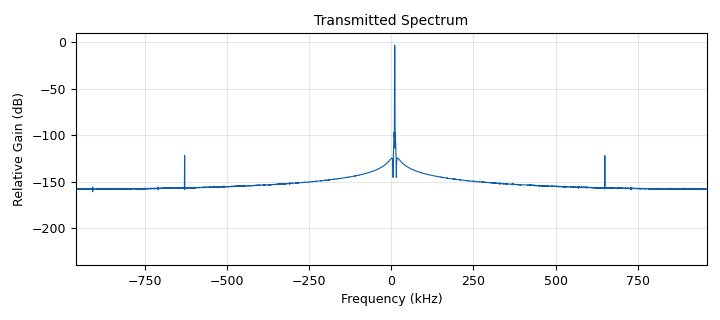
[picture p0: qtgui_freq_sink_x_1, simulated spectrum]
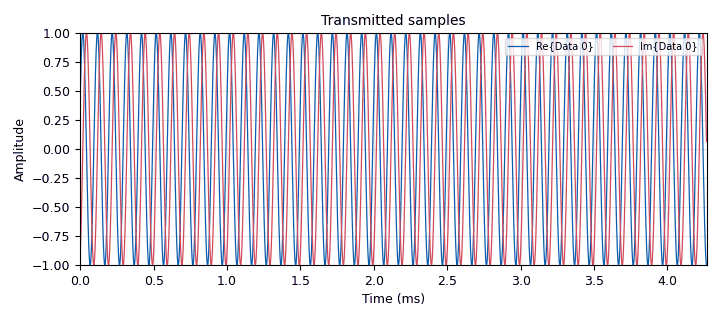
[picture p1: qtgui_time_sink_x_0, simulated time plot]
options:
  parameters:
    generate_options: qt_gui
    id: sinewave_loopback_jupiter
    output_language: python
    title: sinewave_loopback_jupiter
  states: {}

blocks:
- name: buff_size
  id: variable
  parameters:
    value: int(32768)
  states: {}
- name: gain_control_mode_rx0
  id: variable
  parameters:
    value: '''spi'''
  states: {}
- name: hardwaregain_rx0
  id: variable_qtgui_range
  parameters:
    label: Rx Gain [dBfs]
    start: '0'
    step: '1'
    stop: '34'
    value: '20'
  states: {}
- name: hardwaregain_tx0
  id: variable_qtgui_range
  parameters:
    label: Tx Attenuation [dBfs]
    start: '-41'
    step: '1'
    stop: '0'
    value: '0'
  states: {}
- name: interval_update
  id: variable
  parameters:
    value: int(0)
  states: {}
- name: jupiter_ip
  id: variable_config
  parameters:
    config_file: default
    option: key
    section: main
    type: string
    value: ip:pluto.local
    writeback: None
  states: {}
- name: lo_offset
  id: variable
  parameters:
    value: int(0)
  states: {}
- name: phy_config
  id: variable_config
  parameters:
    config_file: default
    option: key
    section: main
    type: string
    value: ad9361-phy
    writeback: None
  states: {}
- name: rx_config
  id: variable_config
  parameters:
    config_file: default
    option: key
    section: main
    type: string
    value: cf-ad9361-lpc
    writeback: None
  states: {}
- name: rx_lo_freq
  id: variable
  parameters:
    value: int(2200000000)
  states: {}
- name: samp_rate
  id: variable
  parameters:
    value: '1920000'
  states: {}
- name: sine_frequency
  id: variable_qtgui_range
  parameters:
    gui_hint: (0,0,1,2)
    label: Transmitted Sine Frequency [Hz]
    start: '-500000'
    step: '1'
    stop: '500000'
    value: '10000'
  states: {}
- name: tx_config
  id: variable_config
  parameters:
    config_file: default
    option: key
    section: main
    type: string
    value: cf-ad9361-dds-core-lpc
    writeback: None
  states: {}
- name: tx_lo_freq
  id: variable
  parameters:
    value: int(2200000000+ lo_offset)
  states: {}
- name: analog_sig_source_x_0
  id: analog_sig_source_x
  parameters:
    amp: '1'
    freq: sine_frequency
    offset: '0'
    phase: '0'
    samp_rate: samp_rate
    type: complex
    waveform: analog.GR_SIN_WAVE
  states: {}
- name: blocks_complex_to_imag_0_4_0
  id: blocks_complex_to_imag
  parameters: {}
  states: {}
- name: blocks_complex_to_real_0_4_0
  id: blocks_complex_to_real
  parameters: {}
  states: {}
- name: blocks_float_to_complex_0
  id: blocks_float_to_complex
  parameters: {}
  states: {}
- name: blocks_float_to_short_0_0_4_0
  id: blocks_float_to_short
  parameters:
    scale: '32767'
  states: {}
- name: blocks_float_to_short_0_5_0
  id: blocks_float_to_short
  parameters:
    scale: '32767'
  states: {}
- name: blocks_short_to_float_0
  id: blocks_short_to_float
  parameters:
    scale: '32767'
  states: {}
- name: blocks_short_to_float_0_1
  id: blocks_short_to_float
  parameters:
    scale: '32767'
  states: {}
- name: iio_attr_sink_0
  id: iio_attr_sink
  parameters:
    attr_type: '0'
    channel: voltage0
    device: phy_config
    output: 'False'
    uri: jupiter_ip
  states: {}
- name: iio_attr_sink_0_0
  id: iio_attr_sink
  parameters:
    attr_type: '0'
    channel: voltage1
    device: phy_config
    output: 'False'
    uri: jupiter_ip
  states: {}
- name: iio_attr_sink_0_0_0
  id: iio_attr_sink
  parameters:
    attr_type: '0'
    channel: voltage1
    device: phy_config
    output: 'True'
    uri: jupiter_ip
  states: {}
- name: iio_attr_sink_0_1
  id: iio_attr_sink
  parameters:
    attr_type: '0'
    channel: voltage0
    device: phy_config
    output: 'True'
    uri: jupiter_ip
  states: {}
- name: iio_attr_sink_0_1_0
  id: iio_attr_sink
  parameters:
    attr_type: '0'
    channel: altvoltage0
    device: phy_config
    output: 'True'
    uri: jupiter_ip
  states: {}
- name: iio_attr_sink_0_1_0_0
  id: iio_attr_sink
  parameters:
    attr_type: '0'
    channel: altvoltage2
    device: phy_config
    output: 'True'
    uri: jupiter_ip
  states: {}
- name: iio_attr_sink_0_1_0_0_0
  id: iio_attr_sink
  parameters:
    attr_type: '1'
    channel: adrv9002-phy
    device: phy_config
    uri: jupiter_ip
  states: {}
- name: iio_attr_sink_0_1_0_1
  id: iio_attr_sink
  parameters:
    attr_type: '0'
    channel: voltage0
    device: phy_config
    output: 'False'
    uri: jupiter_ip
  states: {}
- name: iio_attr_updater_0
  id: iio_attr_updater
  parameters:
    attr: hardwaregain
    interval: interval_update
    value: str(hardwaregain_rx0)
  states: {}
- name: iio_attr_updater_0_0
  id: iio_attr_updater
  parameters:
    attr: hardwaregain
    interval: interval_update
    value: str(0)
  states: {}
- name: iio_attr_updater_0_0_0
  id: iio_attr_updater
  parameters:
    attr: hardwaregain
    interval: interval_update
    value: str(-40)
  states: {}
- name: iio_attr_updater_0_1
  id: iio_attr_updater
  parameters:
    attr: hardwaregain
    interval: interval_update
    value: str(hardwaregain_tx0)
  states: {}
- name: iio_attr_updater_0_1_0
  id: iio_attr_updater
  parameters:
    attr: frequency
    interval: interval_update
    value: str(rx_lo_freq)
  states: {}
- name: iio_attr_updater_0_1_0_0
  id: iio_attr_updater
  parameters:
    attr: frequency
    interval: interval_update
    value: str(tx_lo_freq)
  states: {}
- name: iio_attr_updater_0_1_0_0_0
  id: iio_attr_updater
  parameters:
    attr: initial_calibrations
    interval: interval_update
    value: '''auto'''
  states: {}
- name: iio_attr_updater_0_1_0_1
  id: iio_attr_updater
  parameters:
    attr: gain_control_mode
    interval: interval_update
    value: gain_control_mode_rx0
  states: {}
- name: iio_device_sink_0_1
  id: iio_device_sink
  parameters:
    buffer_size: buff_size
    channels: '[''voltage0'',''voltage1'']'
    cyclic: 'False'
    device: tx_config
    device_phy: phy_config
    interpolation: '1'
    params: '[]'
    uri: jupiter_ip
  states: {}
- name: iio_device_source_0
  id: iio_device_source
  parameters:
    buffer_size: buff_size
    channels: '[''voltage0'',''voltage1'']'
    decimation: '1'
    device: rx_config
    device_phy: phy_config
    params: '[]'
    uri: jupiter_ip
  states: {}
- name: qtgui_const_sink_x_0
  id: qtgui_const_sink_x
  parameters:
    name: '"Received constellation"'
    size: '1024'
    type: complex
    update_time: '0.50'
  states: {}
- name: qtgui_freq_sink_x_0
  id: qtgui_freq_sink_x
  parameters:
    bw: samp_rate
    fc: '0'
    fftsize: '32768'
    gui_hint: (2,1,1,1)
    name: '"Received spectrum"'
    norm_window: 'True'
    tr_level: '-60'
    tr_mode: qtgui.TRIG_MODE_NORM
    type: complex
    wintype: window.WIN_FLATTOP
  states: {}
- name: qtgui_freq_sink_x_1
  id: qtgui_freq_sink_x
  parameters:
    bw: samp_rate
    fc: '0'
    fftsize: '8192'
    gui_hint: (2,0,1,1)
    name: Transmitted Spectrum
    norm_window: 'True'
    tr_level: '-15'
    tr_mode: qtgui.TRIG_MODE_NORM
    type: complex
    ymin: '-240'
  states: {}
- name: qtgui_time_sink_x_0
  id: qtgui_time_sink_x
  parameters:
    gui_hint: (1,0,1,1)
    name: '"Transmitted samples"'
    size: 1024*8
    srate: samp_rate
    tr_level: '0.5'
    tr_mode: qtgui.TRIG_MODE_NORM
    type: complex
  states: {}
- name: qtgui_time_sink_x_1
  id: qtgui_time_sink_x
  parameters:
    gui_hint: (1,1,1,1)
    name: '"Received Samples"'
    size: 1024*8
    srate: samp_rate
    tr_level: '0.2'
    tr_mode: qtgui.TRIG_MODE_NORM
    type: complex
  states: {}

connections:
- [analog_sig_source_x_0, '0', blocks_complex_to_imag_0_4_0, '0']
- [analog_sig_source_x_0, '0', blocks_complex_to_real_0_4_0, '0']
- [analog_sig_source_x_0, '0', qtgui_freq_sink_x_1, '0']
- [analog_sig_source_x_0, '0', qtgui_time_sink_x_0, '0']
- [blocks_complex_to_imag_0_4_0, '0', blocks_float_to_short_0_0_4_0, '0']
- [blocks_complex_to_real_0_4_0, '0', blocks_float_to_short_0_5_0, '0']
- [blocks_float_to_complex_0, '0', qtgui_const_sink_x_0, '0']
- [blocks_float_to_complex_0, '0', qtgui_freq_sink_x_0, '0']
- [blocks_float_to_complex_0, '0', qtgui_time_sink_x_1, '0']
- [blocks_float_to_short_0_0_4_0, '0', iio_device_sink_0_1, '1']
- [blocks_float_to_short_0_5_0, '0', iio_device_sink_0_1, '0']
- [blocks_short_to_float_0, '0', blocks_float_to_complex_0, '0']
- [blocks_short_to_float_0_1, '0', blocks_float_to_complex_0, '1']
- [iio_attr_updater_0, out, iio_attr_sink_0, attr]
- [iio_attr_updater_0_0, out, iio_attr_sink_0_0, attr]
- [iio_attr_updater_0_0_0, out, iio_attr_sink_0_0_0, attr]
- [iio_attr_updater_0_1, out, iio_attr_sink_0_1, attr]
- [iio_attr_updater_0_1_0, out, iio_attr_sink_0_1_0, attr]
- [iio_attr_updater_0_1_0_0, out, iio_attr_sink_0_1_0_0, attr]
- [iio_attr_updater_0_1_0_0_0, out, iio_attr_sink_0_1_0_0_0, attr]
- [iio_attr_updater_0_1_0_1, out, iio_attr_sink_0_1_0_1, attr]
- [iio_device_source_0, '0', blocks_short_to_float_0, '0']
- [iio_device_source_0, '1', blocks_short_to_float_0_1, '0']

metadata:
  file_format: 1
  grc_version: 3.10.5.1
